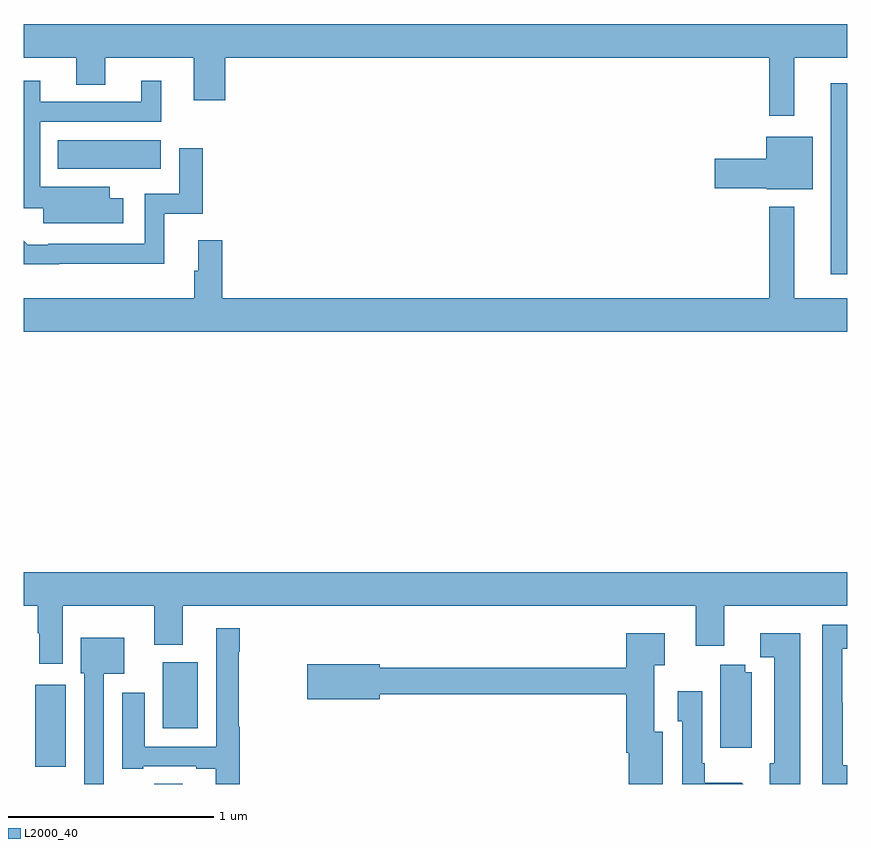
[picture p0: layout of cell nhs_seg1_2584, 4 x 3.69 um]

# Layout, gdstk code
import gdstk
lib = gdstk.Library(unit=1e-6, precision=1e-09)
def R(c, l, rs):  # rectangles x0, y0, x1, y1
    for r in rs: c.add(gdstk.rectangle(r[:2], r[2:], *l))
def P(c, l, *ps):  # polygons
    for p in ps: c.add(gdstk.Polygon(p, *l))
L2000_40 = (2000, 40)

nhs_seg1_2584 = lib.new_cell('nhs_seg1_2584')
R(nhs_seg1_2584, L2000_40, [(251.633,552.199,251.773,552.2), (251.054,552.283,251.203,552.682), (251.675,552.47,251.845,552.79), (254.921,554.675,255,555.604), (251.164,555.188,251.665,555.328)])
P(nhs_seg1_2584, L2000_40, [(254.743,555.728),(255,555.728),(255,555.892),(251,555.892),(251,555.728),(251.255,555.728),(251.255,555.598),(251.395,555.598),(251.395,555.728),(251.825,555.728),(251.825,555.522),(251.978,555.522),(251.978,555.728),(254.622,555.728),(254.622,555.447),(254.743,555.447)],
  [(251.482,555.046),(251.416,555.046),(251.416,555.1),(251.079,555.1),(251.079,555.417),(251.668,555.417),(251.668,555.616),(251.57,555.616),(251.57,555.513),(251.08,555.513),(251.08,555.616),(251,555.616),(251,554.997),(251.093,554.997),(251.093,554.924),(251.482,554.924)],
  [(254.833,555.343),(254.606,555.343),(254.606,555.237),(254.358,555.237),(254.358,555.095),(254.61,555.095),(254.61,555.089),(254.833,555.089)],
  [(251.171,554.726),(251.683,554.726),(251.683,554.97),(251.87,554.97),(251.87,555.289),(251.754,555.289),(251.754,555.066),(251.586,555.066),(251.586,554.823),(251.119,554.823),(251.119,554.82),(251.019,554.82),(251,554.839),(251,554.724),(251.171,554.724)],
  [(255,554.56),(254.743,554.56),(254.743,555.004),(254.622,555.004),(254.622,554.56),(251.963,554.56),(251.963,554.842),(251.846,554.842),(251.846,554.693),(251.827,554.693),(251.827,554.56),(251,554.56),(251,554.396),(255,554.396)],
  [(251.188,553.064),(251.633,553.064),(251.633,552.875),(251.773,552.875),(251.773,553.064),(254.264,553.064),(254.264,552.87),(254.404,552.87),(254.404,553.064),(255,553.064),(255,553.228),(251,553.228),(251,553.064),(251.068,553.064),(251.068,552.932),(251.075,552.932),(251.075,552.783),(251.188,552.783)],
  [(255,552.289),(254.979,552.289),(254.979,552.593),(254.977,552.593),(254.977,552.856),(255,552.856),(255,552.972),(254.88,552.972),(254.88,552.199),(255,552.199)],
  [(252.05,552.478),(252.043,552.478),(252.043,552.842),(252.05,552.842),(252.05,552.955),(251.934,552.955),(251.934,552.381),(251.587,552.381),(251.587,552.643),(251.477,552.643),(251.477,552.273),(251.581,552.273),(251.581,552.285),(251.837,552.285),(251.837,552.273),(251.933,552.273),(251.933,552.199),(252.05,552.199)],
  [(254.773,552.931),(254.577,552.931),(254.577,552.816),(254.645,552.816),(254.645,552.3),(254.623,552.3),(254.623,552.199),(254.773,552.199)],
  [(254.104,552.454),(254.062,552.454),(254.062,552.775),(254.113,552.775),(254.113,552.931),(253.928,552.931),(253.928,552.763),(252.73,552.763),(252.73,552.781),(252.378,552.781),(252.378,552.611),(252.73,552.611),(252.73,552.634),(253.928,552.634),(253.928,552.35),(253.94,552.35),(253.94,552.199),(254.104,552.199)],
  [(251.388,552.734),(251.488,552.734),(251.488,552.91),(251.276,552.91),(251.276,552.738),(251.292,552.738),(251.292,552.199),(251.388,552.199)],
  [(254.536,552.742),(254.504,552.742),(254.504,552.779),(254.384,552.779),(254.384,552.375),(254.536,552.375)],
  [(254.489,552.205),(254.308,552.205),(254.308,552.301),(254.295,552.301),(254.295,552.649),(254.178,552.649),(254.178,552.504),(254.199,552.504),(254.199,552.199),(254.495,552.199)])

lib.write_gds('nhs_seg1_2584.gds')
